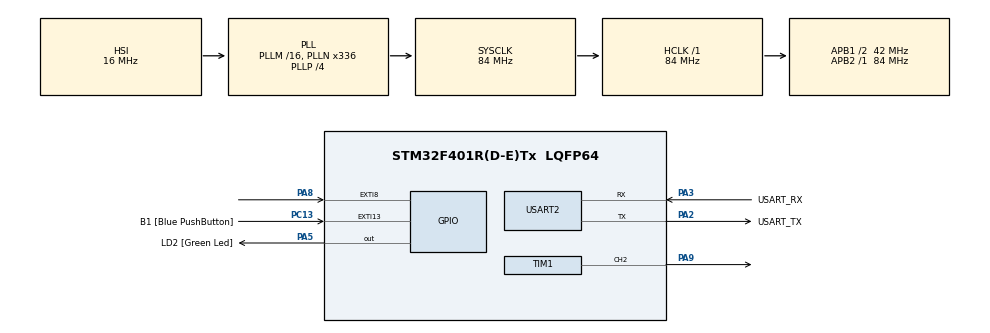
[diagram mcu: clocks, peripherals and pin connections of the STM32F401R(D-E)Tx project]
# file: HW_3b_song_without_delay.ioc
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Mcu.Family=STM32F4
Mcu.Name=STM32F401R(D-E)Tx
Mcu.Package=LQFP64
NVIC.EXTI9_5_IRQn=true\:1\:0\:true\:false\:true\:true\:true\:true
NVIC.PriorityGroup=NVIC_PRIORITYGROUP_1
NVIC.TIM2_IRQn=true\:0\:0\:true\:false\:true\:true\:true\:true
PA13.GPIO_Label=TMS
PA13.Mode=Serial_Wire
PA13.Signal=SYS_JTMS-SWDIO
PA14.GPIO_Label=TCK
PA14.Mode=Serial_Wire
PA14.Signal=SYS_JTCK-SWCLK
PA2.GPIO_Label=USART_TX
PA2.GPIO_Mode=GPIO_MODE_AF_PP
PA2.GPIO_PuPd=GPIO_NOPULL
PA2.GPIO_Speed=GPIO_SPEED_FREQ_LOW
PA2.Mode=Asynchronous
PA2.Signal=USART2_TX
PA3.GPIO_Label=USART_RX
PA3.GPIO_Mode=GPIO_MODE_AF_PP
PA3.GPIO_PuPd=GPIO_NOPULL
PA3.GPIO_Speed=GPIO_SPEED_FREQ_LOW
PA3.Mode=Asynchronous
PA3.Signal=USART2_RX
PA5.GPIO_Label=LD2 [Green Led]
PA5.GPIO_Mode=GPIO_MODE_OUTPUT_PP
PA5.GPIO_PuPd=GPIO_NOPULL
PA5.GPIO_Speed=GPIO_SPEED_FREQ_LOW
PA5.Signal=GPIO_Output
PA8.Signal=GPXTI8
PA9.Signal=S_TIM1_CH2
PB3.GPIO_Label=SWO
PB3.Signal=SYS_JTDO-SWO
PC13-ANTI_TAMP.GPIO_Label=B1 [Blue PushButton]
PC13-ANTI_TAMP.GPIO_ModeDefaultEXTI=GPIO_MODE_IT_FALLING
PC13-ANTI_TAMP.GPIO_PuPd=GPIO_NOPULL
PC13-ANTI_TAMP.Signal=GPXTI13
PC14-OSC32_IN.Mode=LSE-External-Oscillator
PC14-OSC32_IN.Signal=RCC_OSC32_IN
PC15-OSC32_OUT.Mode=LSE-External-Oscillator
PC15-OSC32_OUT.Signal=RCC_OSC32_OUT
PH0\ -\ OSC_IN.Mode=HSE-External-Clock-Source
PH0\ -\ OSC_IN.Signal=RCC_OSC_IN
PH1\ -\ OSC_OUT.Mode=HSE-External-Clock-Source
PH1\ -\ OSC_OUT.Signal=RCC_OSC_OUT
ProjectManager.HeapSize=0x200
ProjectManager.StackSize=0x400
ProjectManager.TargetToolchain=STM32CubeIDE
RCC.48MHZClocksFreq_Value=48000000
RCC.AHBFreq_Value=84000000
RCC.APB1CLKDivider=RCC_HCLK_DIV2
RCC.APB1Freq_Value=42000000
RCC.APB1TimFreq_Value=84000000
RCC.APB2Freq_Value=84000000
RCC.APB2TimFreq_Value=84000000
RCC.CortexFreq_Value=84000000
RCC.HCLKFreq_Value=84000000
RCC.HSE_VALUE=8000000
RCC.HSI_VALUE=16000000
RCC.PLLN=336
RCC.PLLP=RCC_PLLP_DIV4
RCC.PLLQ=7
RCC.SYSCLKFreq_VALUE=84000000
RCC.SYSCLKSource=RCC_SYSCLKSOURCE_PLLCLK
RCC.VCOOutputFreq_Value=336000000
SH.S_TIM1_CH2.0=TIM1_CH2,PWM Generation2 CH2
TIM1.Channel-PWM\ Generation2\ CH2=TIM_CHANNEL_2
TIM1.Period=1909
TIM1.Prescaler=99
TIM1.Pulse-PWM\ Generation2\ CH2=954
TIM2.Period=750
TIM2.Prescaler=8400-1
USART2.VirtualMode=VM_ASYNC
VP_TIM1_VS_ClockSourceINT.Mode=Internal
VP_TIM2_VS_ClockSourceINT.Mode=Internal
board=NUCLEO-F401RE

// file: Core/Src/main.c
/* USER CODE BEGIN Header */
/**
  ******************************************************************************
  * @file           : main.c
  * @brief          : Main program body
  ******************************************************************************
  * @attention
  *
  * Copyright (c) 2024 STMicroelectronics.
  * All rights reserved.
  *
  * This software is licensed under terms that can be found in the LICENSE file
  * in the root directory of this software component.
  * If no LICENSE file comes with this software, it is provided AS-IS.
  *
  ******************************************************************************
  */
/* USER CODE END Header */
#include "main.h"

/* USER CODE BEGIN PTD */
struct note{
	int tone;
	int duration;
};
/* USER CODE END PTD */

/* USER CODE BEGIN PD */
#define _DO4 3205
#define _DOD4 3031
#define _RE4 2856
#define _RED4 2699
#define _MI4 2544
#define _FA4 2405
#define _FAD4 2269
#define _SOL4 2141
#define _SOLD4 2141
#define _LA4 1908
#define _LAD4 1801
#define _SI4 1699

#define PAUSA 999999	//PAUSA has been added to add pause and compose more complex songs,
						//it has been added also for terminate a song without any sound not to trigger the microphone in loop
#define TEMPO 75
/* USER CODE END PD */

TIM_HandleTypeDef htim1;
TIM_HandleTypeDef htim2;
UART_HandleTypeDef huart2;

/* USER CODE BEGIN PV */
struct note score[]={

		// --- London Bridge is Falling Down --- //
		{_SOL4, 6},
		{_LA4, 2},
		{_SOL4, 4},
		{_FA4, 4},
		{_MI4, 4},
		{_FA4, 4},
		{_SOL4, 8},
		{_RE4, 4},
		{_MI4, 4},
		{_FA4, 8},
		{_MI4, 4},
		{_FA4, 4},
		{_SOL4, 8},
		{_SOL4, 6},
		{_LA4, 2},
		{_SOL4, 4},
		{_FA4, 4},
		{_MI4, 4},
		{_FA4, 4},
		{_SOL4, 8},
		{_RE4, 8},
		{_SOL4, 8},
		{_MI4, 4},
		{_DO4, 12},

		{PAUSA, 2} //This terminates the song, we put 2 but whatever value is enough to avoid loops

		// ------------------------------------- //

		// ----------- An other Song ---------- //

		/*
		{_MI4, 4},
		{_FAD4, 4},
		{_SOL4, 6},
		{_FAD4, 2},
		{_MI4, 4},
		{_LA4, 4},
		{_SOL4, 4},
		{_FAD4, 4},
		{_SOL4, 6},
		{_FAD4, 2},
		{_MI4, 4},

		{PAUSA, 4},

		{_MI4, 4},
		{_FAD4, 4},
		{_SOL4, 6},
		{_FAD4, 2},
		{_MI4, 4},
		{_LA4, 4},
		{_SOL4, 4},
		{_FAD4, 4},
		{_SI4, 12},
		{_DO4, 8},
		{_SI4, 4},
		{_LA4, 6},
		{_SOL4, 2},
		{_FAD4, 4},
		{_SI4, 8},
		{_LA4, 4},
		{_SOL4, 6},
		{_FAD4, 2},
		{_MI4, 4},
		{_FAD4, 8},
		{_SOL4, 4},
		{_FAD4, 8},
		{_SOL4, 4},
		{_FAD4, 8},
		{_MI4, 4},
		{_FAD4, 12},

		{PAUSA, 2}
		*/

		// ------------------------------------- //

};
/* USER CODE END PV */

void SystemClock_Config(void);
static void MX_GPIO_Init(void);
static void MX_USART2_UART_Init(void);
static void MX_TIM2_Init(void);
static void MX_TIM1_Init(void);

/* USER CODE BEGIN 0 */

int note_playing_flag;
int current_note_index= sizeof(score)/sizeof(score[0]);

void playnote(struct note note_playing){

	  TIM_ClockConfigTypeDef sClockSourceConfig = {0};
	  TIM_MasterConfigTypeDef sMasterConfig = {0};
	  TIM_OC_InitTypeDef sConfigOC = {0};
	  TIM_BreakDeadTimeConfigTypeDef sBreakDeadTimeConfig = {0};

	  htim1.Instance = TIM1;
	  htim1.Init.Prescaler = 99;
	  htim1.Init.CounterMode = TIM_COUNTERMODE_UP;
	  htim1.Init.Period = note_playing.tone;
	  htim1.Init.ClockDivision = TIM_CLOCKDIVISION_DIV1;
	  htim1.Init.RepetitionCounter = 0;
	  htim1.Init.AutoReloadPreload = TIM_AUTORELOAD_PRELOAD_DISABLE;

	  if (HAL_TIM_Base_Init(&htim1) != HAL_OK) Error_Handler();
	  sClockSourceConfig.ClockSource = TIM_CLOCKSOURCE_INTERNAL;
	  if (HAL_TIM_ConfigClockSource(&htim1, &sClockSourceConfig) != HAL_OK) Error_Handler();
	  if (HAL_TIM_PWM_Init(&htim1) != HAL_OK) Error_Handler();
	  sMasterConfig.MasterOutputTrigger = TIM_TRGO_RESET;
	  sMasterConfig.MasterSlaveMode = TIM_MASTERSLAVEMODE_DISABLE;
	  if (HAL_TIMEx_MasterConfigSynchronization(&htim1, &sMasterConfig) != HAL_OK) Error_Handler();
	  sConfigOC.OCMode = TIM_OCMODE_PWM1;
	  sConfigOC.Pulse = note_playing.tone/2;
	  sConfigOC.OCPolarity = TIM_OCPOLARITY_HIGH;
	  sConfigOC.OCNPolarity = TIM_OCNPOLARITY_HIGH;
	  sConfigOC.OCFastMode = TIM_OCFAST_DISABLE;
	  sConfigOC.OCIdleState = TIM_OCIDLESTATE_RESET;
	  sConfigOC.OCNIdleState = TIM_OCNIDLESTATE_RESET;
	  if (HAL_TIM_PWM_ConfigChannel(&htim1, &sConfigOC, TIM_CHANNEL_2) != HAL_OK) Error_Handler();
	  sBreakDeadTimeConfig.OffStateRunMode = TIM_OSSR_DISABLE;
	  sBreakDeadTimeConfig.OffStateIDLEMode = TIM_OSSI_DISABLE;
	  sBreakDeadTimeConfig.LockLevel = TIM_LOCKLEVEL_OFF;
	  sBreakDeadTimeConfig.DeadTime = 0;
	  sBreakDeadTimeConfig.BreakState = TIM_BREAK_DISABLE;
	  sBreakDeadTimeConfig.BreakPolarity = TIM_BREAKPOLARITY_HIGH;
	  sBreakDeadTimeConfig.AutomaticOutput = TIM_AUTOMATICOUTPUT_DISABLE;
	  if (HAL_TIMEx_ConfigBreakDeadTime(&htim1, &sBreakDeadTimeConfig) != HAL_OK) Error_Handler();

	  /* USER CODE BEGIN TIM1_Init 2 */
	  HAL_TIM_PWM_Start(&htim1, TIM_CHANNEL_2);
	  note_playing_flag = note_playing.duration;
	  /* USER CODE END TIM1_Init 2 */
}

void playsong(){
	note_playing_flag = 0;
	current_note_index = 0;
	playnote(score[current_note_index]);
}

void HAL_TIM_PeriodElapsedCallback (TIM_HandleTypeDef *htim)
{
	if (htim == &htim2) {
		note_playing_flag--;
		if (note_playing_flag == 0) {	//if note duration has been entirely played
			HAL_TIM_PWM_Stop(&htim1, TIM_CHANNEL_2);
			current_note_index++;
			if (current_note_index < sizeof(score)/sizeof(score[0]))
				playnote(score[current_note_index]);
		}
	}
}

void HAL_GPIO_EXTI_Callback(uint16_t GPIO_Pin)
{
	switch(GPIO_Pin)
	{
		case GPIO_PIN_8:

			if (current_note_index >= sizeof(score)/sizeof(score[0]))
			playsong();

			__HAL_GPIO_EXTI_CLEAR_IT(GPIO_Pin);
			break;
		default: break;
	}
}

/* USER CODE END 0 */

int main(void)
{

  /* MCU Configuration--------------------------------------------------------*/

  /* Reset of all peripherals, Initializes the Flash interface and the Systick. */
  HAL_Init();

  /* Configure the system clock */
  SystemClock_Config();

  /* Initialize all configured peripherals */
  MX_GPIO_Init();
  MX_USART2_UART_Init();
  MX_TIM2_Init();
  MX_TIM1_Init();
  /* USER CODE BEGIN 2 */
  HAL_TIM_Base_Start_IT (&htim2);
//provaconflict
  /* USER CODE END 2 */

  /* Infinite loop */
  while (1)
  {

  }
}

void SystemClock_Config(void)
{
  RCC_OscInitTypeDef RCC_OscInitStruct = {0};
  RCC_ClkInitTypeDef RCC_ClkInitStruct = {0};

  /** Configure the main internal regulator output voltage
  */
  __HAL_RCC_PWR_CLK_ENABLE();
  __HAL_PWR_VOLTAGESCALING_CONFIG(PWR_REGULATOR_VOLTAGE_SCALE2);

  /** Initializes the RCC Oscillators according to the specified parameters
  * in the RCC_OscInitTypeDef structure.
  */
  RCC_OscInitStruct.OscillatorType = RCC_OSCILLATORTYPE_HSI;
  RCC_OscInitStruct.HSIState = RCC_HSI_ON;
  RCC_OscInitStruct.HSICalibrationValue = RCC_HSICALIBRATION_DEFAULT;
  RCC_OscInitStruct.PLL.PLLState = RCC_PLL_ON;
  RCC_OscInitStruct.PLL.PLLSource = RCC_PLLSOURCE_HSI;
  RCC_OscInitStruct.PLL.PLLM = 16;
  RCC_OscInitStruct.PLL.PLLN = 336;
  RCC_OscInitStruct.PLL.PLLP = RCC_PLLP_DIV4;
  RCC_OscInitStruct.PLL.PLLQ = 7;
  if (HAL_RCC_OscConfig(&RCC_OscInitStruct) != HAL_OK)
  {
    Error_Handler();
  }

  /** Initializes the CPU, AHB and APB buses clocks
  */
  RCC_ClkInitStruct.ClockType = RCC_CLOCKTYPE_HCLK|RCC_CLOCKTYPE_SYSCLK
                              |RCC_CLOCKTYPE_PCLK1|RCC_CLOCKTYPE_PCLK2;
  RCC_ClkInitStruct.SYSCLKSource = RCC_SYSCLKSOURCE_PLLCLK;
  RCC_ClkInitStruct.AHBCLKDivider = RCC_SYSCLK_DIV1;
  RCC_ClkInitStruct.APB1CLKDivider = RCC_HCLK_DIV2;
  RCC_ClkInitStruct.APB2CLKDivider = RCC_HCLK_DIV1;

  if (HAL_RCC_ClockConfig(&RCC_ClkInitStruct, FLASH_LATENCY_2) != HAL_OK)
  {
    Error_Handler();
  }
}

static void MX_TIM1_Init(void)
{

  TIM_ClockConfigTypeDef sClockSourceConfig = {0};
  TIM_MasterConfigTypeDef sMasterConfig = {0};
  TIM_OC_InitTypeDef sConfigOC = {0};
  TIM_BreakDeadTimeConfigTypeDef sBreakDeadTimeConfig = {0};

  htim1.Instance = TIM1;
  htim1.Init.Prescaler = 99;
  htim1.Init.CounterMode = TIM_COUNTERMODE_UP;
  htim1.Init.Period = 1909;
  htim1.Init.ClockDivision = TIM_CLOCKDIVISION_DIV1;
  htim1.Init.RepetitionCounter = 0;
  htim1.Init.AutoReloadPreload = TIM_AUTORELOAD_PRELOAD_DISABLE;
  if (HAL_TIM_Base_Init(&htim1) != HAL_OK)
  {
    Error_Handler();
  }
  sClockSourceConfig.ClockSource = TIM_CLOCKSOURCE_INTERNAL;
  if (HAL_TIM_ConfigClockSource(&htim1, &sClockSourceConfig) != HAL_OK)
  {
    Error_Handler();
  }
  if (HAL_TIM_PWM_Init(&htim1) != HAL_OK)
  {
    Error_Handler();
  }
  sMasterConfig.MasterOutputTrigger = TIM_TRGO_RESET;
  sMasterConfig.MasterSlaveMode = TIM_MASTERSLAVEMODE_DISABLE;
  if (HAL_TIMEx_MasterConfigSynchronization(&htim1, &sMasterConfig) != HAL_OK)
  {
    Error_Handler();
  }
  sConfigOC.OCMode = TIM_OCMODE_PWM1;
  sConfigOC.Pulse = 954;
  sConfigOC.OCPolarity = TIM_OCPOLARITY_HIGH;
  sConfigOC.OCNPolarity = TIM_OCNPOLARITY_HIGH;
  sConfigOC.OCFastMode = TIM_OCFAST_DISABLE;
  sConfigOC.OCIdleState = TIM_OCIDLESTATE_RESET;
  sConfigOC.OCNIdleState = TIM_OCNIDLESTATE_RESET;
  if (HAL_TIM_PWM_ConfigChannel(&htim1, &sConfigOC, TIM_CHANNEL_2) != HAL_OK)
  {
    Error_Handler();
  }
  sBreakDeadTimeConfig.OffStateRunMode = TIM_OSSR_DISABLE;
  sBreakDeadTimeConfig.OffStateIDLEMode = TIM_OSSI_DISABLE;
  sBreakDeadTimeConfig.LockLevel = TIM_LOCKLEVEL_OFF;
  sBreakDeadTimeConfig.DeadTime = 0;
  sBreakDeadTimeConfig.BreakState = TIM_BREAK_DISABLE;
  sBreakDeadTimeConfig.BreakPolarity = TIM_BREAKPOLARITY_HIGH;
  sBreakDeadTimeConfig.AutomaticOutput = TIM_AUTOMATICOUTPUT_DISABLE;
  if (HAL_TIMEx_ConfigBreakDeadTime(&htim1, &sBreakDeadTimeConfig) != HAL_OK)
  {
    Error_Handler();
  }
  HAL_TIM_MspPostInit(&htim1);

}

static void MX_TIM2_Init(void)
{

  TIM_ClockConfigTypeDef sClockSourceConfig = {0};
  TIM_MasterConfigTypeDef sMasterConfig = {0};

  htim2.Instance = TIM2;
  htim2.Init.Prescaler = 8400-1;
  htim2.Init.CounterMode = TIM_COUNTERMODE_UP;
  htim2.Init.Period = TEMPO*10;
  htim2.Init.ClockDivision = TIM_CLOCKDIVISION_DIV1;
  htim2.Init.AutoReloadPreload = TIM_AUTORELOAD_PRELOAD_DISABLE;

  if (HAL_TIM_Base_Init(&htim2) != HAL_OK)
  {
    Error_Handler();
  }
  sClockSourceConfig.ClockSource = TIM_CLOCKSOURCE_INTERNAL;
  if (HAL_TIM_ConfigClockSource(&htim2, &sClockSourceConfig) != HAL_OK)
  {
    Error_Handler();
  }
  sMasterConfig.MasterOutputTrigger = TIM_TRGO_RESET;
  sMasterConfig.MasterSlaveMode = TIM_MASTERSLAVEMODE_DISABLE;
  if (HAL_TIMEx_MasterConfigSynchronization(&htim2, &sMasterConfig) != HAL_OK)
  {
    Error_Handler();
  }

}

static void MX_USART2_UART_Init(void)
{

  huart2.Instance = USART2;
  huart2.Init.BaudRate = 115200;
  huart2.Init.WordLength = UART_WORDLENGTH_8B;
  huart2.Init.StopBits = UART_STOPBITS_1;
  huart2.Init.Parity = UART_PARITY_NONE;
  huart2.Init.Mode = UART_MODE_TX_RX;
  huart2.Init.HwFlowCtl = UART_HWCONTROL_NONE;
  huart2.Init.OverSampling = UART_OVERSAMPLING_16;
  if (HAL_UART_Init(&huart2) != HAL_OK)
  {
    Error_Handler();
  }

}

static void MX_GPIO_Init(void)
{
  GPIO_InitTypeDef GPIO_InitStruct = {0};

  /* GPIO Ports Clock Enable */
  __HAL_RCC_GPIOC_CLK_ENABLE();
  __HAL_RCC_GPIOH_CLK_ENABLE();
  __HAL_RCC_GPIOA_CLK_ENABLE();
  __HAL_RCC_GPIOB_CLK_ENABLE();

  /*Configure GPIO pin Output Level */
  HAL_GPIO_WritePin(LD2_GPIO_Port, LD2_Pin, GPIO_PIN_RESET);

  /*Configure GPIO pin : B1_Pin */
  GPIO_InitStruct.Pin = B1_Pin;
  GPIO_InitStruct.Mode = GPIO_MODE_IT_FALLING;
  GPIO_InitStruct.Pull = GPIO_NOPULL;
  HAL_GPIO_Init(B1_GPIO_Port, &GPIO_InitStruct);

  /*Configure GPIO pin : LD2_Pin */
  GPIO_InitStruct.Pin = LD2_Pin;
  GPIO_InitStruct.Mode = GPIO_MODE_OUTPUT_PP;
  GPIO_InitStruct.Pull = GPIO_NOPULL;
  GPIO_InitStruct.Speed = GPIO_SPEED_FREQ_LOW;
  HAL_GPIO_Init(LD2_GPIO_Port, &GPIO_InitStruct);

  /*Configure GPIO pin : PA8 */
  GPIO_InitStruct.Pin = GPIO_PIN_8;
  GPIO_InitStruct.Mode = GPIO_MODE_IT_RISING;
  GPIO_InitStruct.Pull = GPIO_NOPULL;
  HAL_GPIO_Init(GPIOA, &GPIO_InitStruct);

  /* EXTI interrupt init*/
  HAL_NVIC_SetPriority(EXTI9_5_IRQn, 1, 0);
  HAL_NVIC_EnableIRQ(EXTI9_5_IRQn);

}

void Error_Handler(void)
{
  __disable_irq();
  while (1)
  {
  }
}
